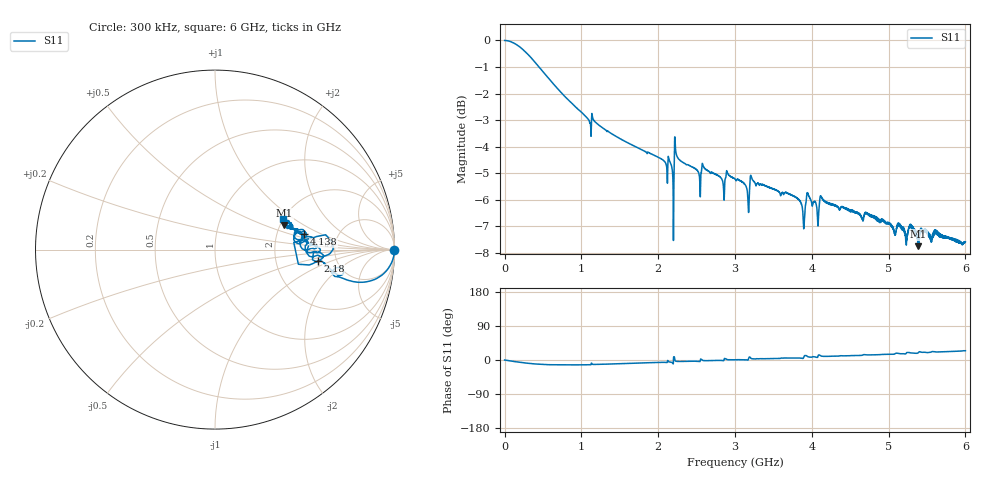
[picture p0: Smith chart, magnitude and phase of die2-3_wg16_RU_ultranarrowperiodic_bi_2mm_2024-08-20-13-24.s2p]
!Keysight Technologies,P9374A,MY57304198,A.17.20.09
!Date: Tuesday, August 20, 2024 13:24:43
!Correction: S11(C  1-Port  )
!S21(C  1-Port  )
!S12(Off)
!S22(Off)
!S2P File: Measurements: S11, S21, S12, S22:
# Hz S  dB  R 50
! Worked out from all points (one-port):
!   6000 points, 300 kHz to 6 GHz, reference 50 ohm
!   lowest |S11| = -7.7 dB at 5.387 GHz (marker M1), VSWR 2.39, Z = 105 + j34.4 ohm
!   |S11| at or under -10 dB: nowhere
!   S11 on the Smith chart (normalised r, x): 300 kHz: open; 2.18 GHz: 3.57, -0.67; 4.138 GHz: 2.86, +0.66; 6 GHz: 1.99, +0.83
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300000  0.00 -0.0  -200.00 45.0  -200.00 45.0  -200.00 45.0
4.153484e8  -0.89 -10.7  -200.00 45.0  -200.00 45.0  -200.00 45.0
1.000417e9  -2.70 -12.7  -200.00 45.0  -200.00 45.0  -200.00 45.0
2.000533e9  -4.39 -6.5  -200.00 45.0  -200.00 45.0  -200.00 45.0
2.155551e9  -4.59 -5.4  -200.00 45.0  -200.00 45.0  -200.00 45.0
2.179554e9  -4.80 -6.3  -200.00 45.0  -200.00 45.0  -200.00 45.0
2.22856e9  -4.17 -3.1  -200.00 45.0  -200.00 45.0  -200.00 45.0
2.241561e9  -4.34 -3.6  -200.00 45.0  -200.00 45.0  -200.00 45.0
2.531595e9  -5.03 -3.6  -200.00 45.0  -200.00 45.0  -200.00 45.0
2.595603e9  -4.78 -1.6  -200.00 45.0  -200.00 45.0  -200.00 45.0
2.842632e9  -5.34 -1.6  -200.00 45.0  -200.00 45.0  -200.00 45.0
3.00065e9  -5.21 0.6  -200.00 45.0  -200.00 45.0  -200.00 45.0
3.144667e9  -5.49 0.6  -200.00 45.0  -200.00 45.0  -200.00 45.0
3.206674e9  -5.08 4.6  -200.00 45.0  -200.00 45.0  -200.00 45.0
3.77474e9  -5.88 5.3  -200.00 45.0  -200.00 45.0  -200.00 45.0
3.894754e9  -7.09 7.3  -200.00 45.0  -200.00 45.0  -200.00 45.0
3.927758e9  -6.00 11.6  -200.00 45.0  -200.00 45.0  -200.00 45.0
4.000767e9  -6.15 7.4  -200.00 45.0  -200.00 45.0  -200.00 45.0
4.137783e9  -5.96 9.8  -200.00 45.0  -200.00 45.0  -200.00 45.0
5.000883e9  -6.86 15.0  -200.00 45.0  -200.00 45.0  -200.00 45.0
5.386928e9  -7.74 19.3  -200.00 45.0  -200.00 45.0  -200.00 45.0
6e9  -7.59 24.5  -200.00 45.0  -200.00 45.0  -200.00 45.0
